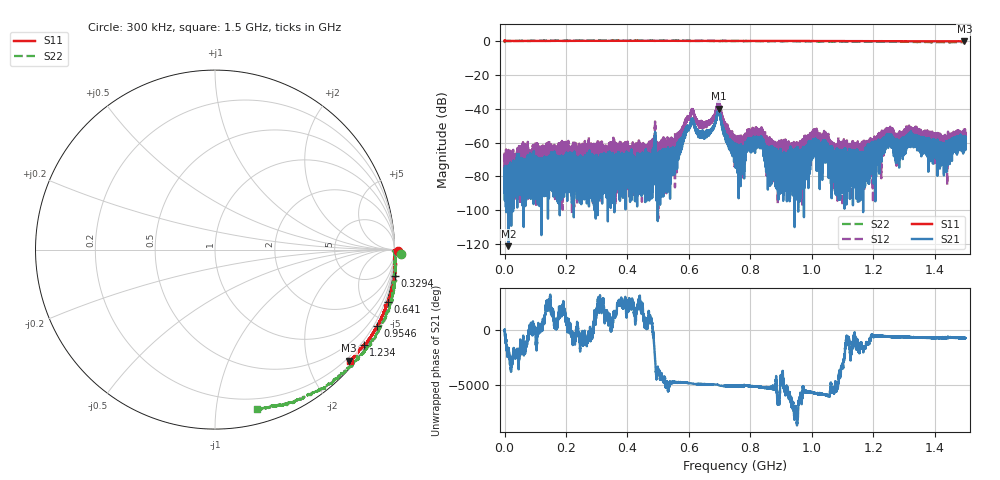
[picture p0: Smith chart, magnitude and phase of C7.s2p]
!Agilent Technologies,N5230C,SG49000117,A.08.50.07
!Agilent N5230C: A.08.50.07
!Date: Thursday, December 07, 2023 05:51:34
!Correction: S11(Full 2 Port(1,2))
!S21(Full 2 Port(1,2))
!S12(Full 2 Port(1,2))
!S22(Full 2 Port(1,2))
!S2P File: Measurements: S11, S21, S12, S22:
# Hz S  RI  R 50
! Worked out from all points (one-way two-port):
!   20001 points, 300 kHz to 1.5 GHz, reference 50 ohm
!   highest |S21| = -40.09 dB at 696.9 MHz (marker M1); lowest = -121.2 dB at 12.37 MHz (marker M2)
!   lowest |S11| = -0.3 dB at 1.497 GHz (marker M3), VSWR 65.58, Z = 6.62 - j138 ohm
!   |S11| at or under -10 dB: nowhere
!   |S22| runs from -0.8 to 0.3 dB; largest |S21 - S12| = 0.0098
!   S11 on the Smith chart (normalised r, x): 300 kHz: -83, -39; 329.4 MHz: -1, -14; 641 MHz: -0.20, -6.75; 954.6 MHz: 0.01, -4.49; 1.234 GHz: 0.10, -3.41; 1.5 GHz: 0.11, -2.77
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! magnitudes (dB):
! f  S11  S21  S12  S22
! 300 kHz  0.2  -76.0  -65.9  0.3
! 12.37 MHz  0.0  -121.2  -99.9  0.0
! 250.3 MHz  0.1  -74.3  -66.7  0.2
! 329.4 MHz  0.1  -72.3  -67.5  0.2
! 461.8 MHz  0.1  -77.2  -77.4  0.1
! 486.9 MHz  0.1  -67.8  -57.5  0.1
! 500.2 MHz  0.1  -74.5  -67.3  0.2
! 550.9 MHz  0.1  -64.1  -59.3  0.1
! 608.8 MHz  0.0  -47.1  -40.5  0.0
! 641 MHz  0.1  -54.8  -49.3  0.1
! 696.9 MHz  0.0  -40.1  -34.7  -0.1
! 750.1 MHz  0.0  -64.2  -60.9  0.0
! 833.3 MHz  0.0  -60.3  -52.6  -0.1
! 886.8 MHz  0.0  -70.9  -80.5  -0.1
! 954.6 MHz  0.0  -75.0  -65.6  -0.2
! 1 GHz  0.0  -65.7  -56.1  -0.2
! 1.144 GHz  -0.1  -73.1  -65.1  -0.4
! 1.234 GHz  -0.1  -61.5  -56.6  -0.4
! 1.25 GHz  -0.2  -56.7  -53.1  -0.4
! 1.436 GHz  -0.2  -64.4  -66.9  -0.7
! 1.497 GHz  -0.3  -64.0  -55.9  -0.7
! 1.5 GHz  -0.2  -58.5  -53.8  -0.8
